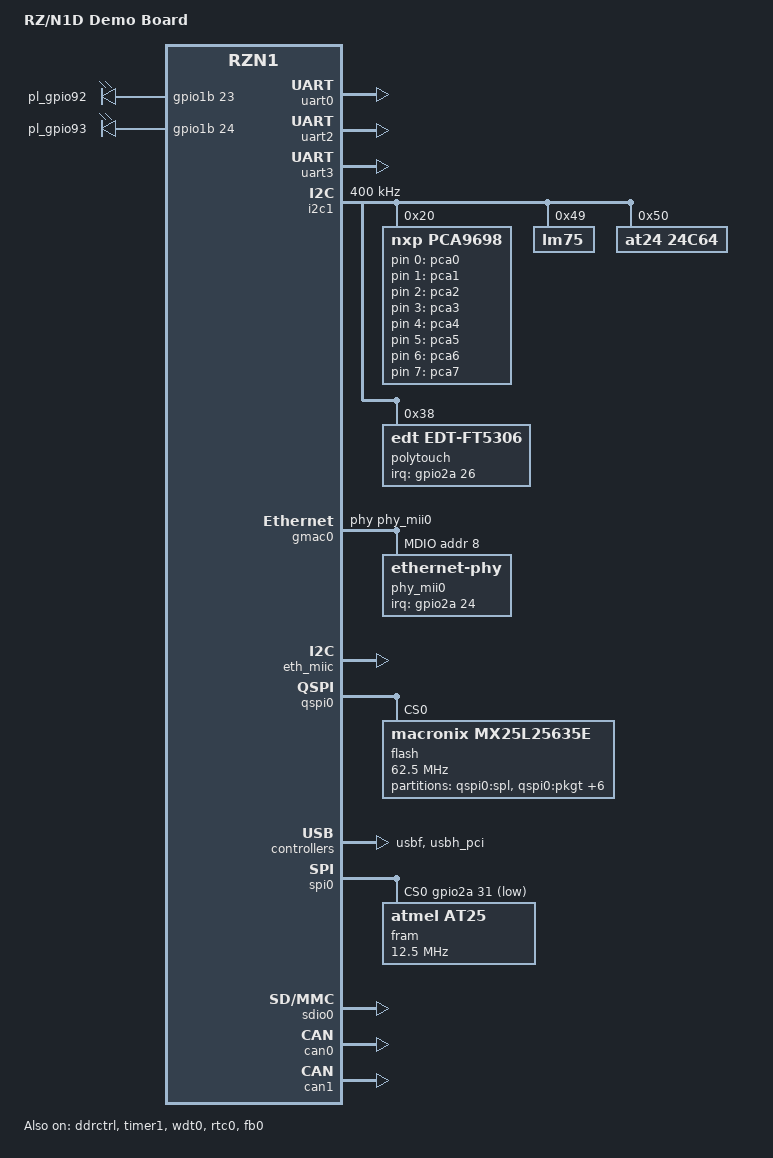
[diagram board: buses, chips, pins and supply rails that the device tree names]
// SPDX-License-Identifier: GPL-2.0
/*
 * Copyright (C) 2016-2019 Renesas Electronics Europe Ltd
 *
 * Device Tree Source for the RZN1D Demo Board
 * This dts is for use when the Cortex M3 controls GMAC1, the 5-Port Switch
 * and the RGMII/GMII Converters for the ports connected to the Switch.
 */

/dts-v1/;

#include "rzn1.dtsi"
#include "rzn1-clocks.dtsi"

/ {
	model = "RZ/N1D Demo Board";
	compatible = "renesas,rzn1d-db", "renesas,rzn1";

	chosen {
		stdout-path = "serial0:115200n8";
	};
	sram@20000000 {
		compatible = "mmio-sram";
		reg = <0x20000000 0x100000>;
		#address-cells = <1>;
		#size-cells = <1>;

		c2c_sram@f8000 {
			compatible = "ctc-sram";
			reg = <0xf8000 0x8000>;
		};
	};
	hoard: cat: nmi: rmii {
		#address-cells = <1>;
		#size-cells = <0>;
	};
	leds: leds {
		compatible = "gpio-leds";

		led_1 {
			label = "pl_gpio92";
			gpios = <&gpio1b 23 GPIO_ACTIVE_HIGH>;
			linux,default-trigger = "cpu0";
		};
		led_2 {
			label = "pl_gpio93";
			gpios = <&gpio1b 24 GPIO_ACTIVE_HIGH>;
			linux,default-trigger = "cpu1";
		};
		pca0 {
			label = "pca0";
			gpios = <&pca9698 0 GPIO_ACTIVE_HIGH>;
		};
		pca1 {
			label = "pca1";
			gpios = <&pca9698 1 GPIO_ACTIVE_HIGH>;
		};
		pca2 {
			label = "pca2";
			gpios = <&pca9698 2 GPIO_ACTIVE_HIGH>;
		};
		pca3 {
			label = "pca3";
			gpios = <&pca9698 3 GPIO_ACTIVE_HIGH>;
		};
		pca4 {
			label = "pca4";
			gpios = <&pca9698 4 GPIO_ACTIVE_HIGH>;
		};
		pca5 {
			label = "pca5";
			gpios = <&pca9698 5 GPIO_ACTIVE_HIGH>;
		};
		pca6 {
			label = "pca6";
			gpios = <&pca9698 6 GPIO_ACTIVE_HIGH>;
		};
		pca7 {
			label = "pca7";
			gpios = <&pca9698 7 GPIO_ACTIVE_HIGH>;
		};
	};
};

/* Map the USB pinmux to the peripheral port */
#define usb usbh_pci
/* ethX refers to the physical pins for each ethernet interface. Here we simply
 * place them in the hoard node to avoid errors if they are not used. Users of
 * the pins will then indicate are needed by adding a pinctrl-0 entry for them.
 */
#define eth0 hoard
#define eth1 hoard
#define eth2 hoard
#define eth3 hoard
#define eth4 hoard
#define refclk hoard
#define mdio0 hoard
#define mdio1 hoard
#define lcd fb0

#include "rzn1d-db-pinmux.dtsi"

&ddrctrl {
	status = "okay";
};

/* Note, timer0 may be used by the Cortex M3 software */
&timer1 {
	status = "okay";
	/* Enable the /25 prescaler only on the 16-bit timers */
	renesas,clk-prescaler = <1 1 1 1 1 1 0 0>;
	renesas,timer-rating = <150 150 150 150 150 150 460 460>;
};

/* Calculated gpio irq numbers: gpioXa Y = 32*X + Y */
#define GPIOA_IRQ(gpioa_block, nr)	(32 * (gpioa_block) + (nr))
&gpioirqmux {
	status = "okay";

	interrupt-map =
		<GPIOA_IRQ(2, 24) &gic GIC_SPI 103 IRQ_TYPE_LEVEL_HIGH>,	/* pin 146: ETH Port 1 IRQ */
		<GPIOA_IRQ(2,  4) &gic GIC_SPI 104 IRQ_TYPE_LEVEL_HIGH>,	/* pin 126: ETH Port 2 IRQ */
		<GPIOA_IRQ(1, 28) &gic GIC_SPI 105 IRQ_TYPE_LEVEL_HIGH>,	/* pin 118: ETH Port 3 IRQ */
		<GPIOA_IRQ(2, 25) &gic GIC_SPI 106 IRQ_TYPE_LEVEL_HIGH>,	/* pin 147: ETH Port 4 IRQ */
		<GPIOA_IRQ(2, 27) &gic GIC_SPI 107 IRQ_TYPE_LEVEL_HIGH>,	/* pin 149: ETH Port 5 IRQ */
		<GPIOA_IRQ(2, 26) &gic GIC_SPI 108 IRQ_TYPE_LEVEL_HIGH>;	/* pin 148: TouchSCRN_IRQ */
};

&uart0 {
	status = "okay";
	u-boot,dm-pre-reloc;
	dont-change-baud-clock;
};

&uart2 {
	pinctrl-0 = <&pins_uart2>;
	pinctrl-names = "default";
	status = "okay";
	dont-change-baud-clock;
};

&uart3 {
	pinctrl-0 = <&pins_uart3>;
	pinctrl-names = "default";
	status = "okay";
	dont-change-baud-clock;
};

&i2c1 {
	pinctrl-0 = <&pins_i2c1>;
	pinctrl-names = "default";
	status = "okay";
	clock-frequency = <400000>;
	pca9698: gpio@20 {
		compatible = "nxp,pca9698";
		reg = <0x20>;
		gpio-controller;
		#gpio-cells = <2>;
		gpio-bank-name="pca";

		/* gpio-hogs to enable access to the EEPROM */
		eeprom_ctrl0 {
			gpio-hog;
			gpios = <16 0>;
			output-high;
			line-name = "eeprom-ctrl0-gpio";
		};
		eeprom_ctrl1 {
			gpio-hog;
			gpios = <17 0>;
			output-low;
			line-name = "eeprom-ctrl1-gpio";
		};
		eeprom_ctrl2 {
			gpio-hog;
			gpios = <18 0>;
			output-low;
			line-name = "eeprom-ctrl2-gpio";
		};
	};
	lm75: lm75@49 {
		/* Ext Board: Temperature sensor */
		compatible = "lm75";
		reg = <0x49>;
	};
	at24@50 {
		compatible = "at24,24c64";
		pagesize = <32>;
		reg = <0x50>;
	};
	polytouch: edt-ft5x06@38 {
		/* Ext Board: touch sensor on LCD */
		compatible = "edt,edt-ft5306", "edt,edt-ft5x06";
		reg = <0x38>;
		interrupt-parent = <&gpio2a>;
		interrupts = <26 IRQ_TYPE_EDGE_FALLING>;
		touchscreen-size-x = <800>;
		touchscreen-size-y = <480>;
		// touchscreen-swapped-x-y;
	};
};

&gpio1 {
	pinctrl-0 = <&pins_gpio1>;
	pinctrl-names = "default";
	status = "okay";
	u-boot,dm-pre-reloc;
};

&gpio1a {
	u-boot,dm-pre-reloc;
};

&gpio1b {
	u-boot,dm-pre-reloc;
};

&gpio2 {
	pinctrl-0 = <&pins_gpio2>;
	pinctrl-names = "default";
	status = "okay";
};

&gmac0 {
	/* Only accessible from the Ext Board */
	status = "okay";
	pinctrl-names = "default";
	pinctrl-0 = <&pins_mdio0>, <&pins_eth0>;

	/*
	 * Do not use GPIO 94 to reset the PHY. This signal is used to reset all
	 * PHYs on the board, but the other PHYs are controlled by firmware on the
	 * Cortex M3 and we do not want to disturb them. We rely on U-Boot to toggle
	 * this reset pin.
	 */

	phy-handle = <&phy_mii0>;

	mdio0 {
		#address-cells = <1>;
		#size-cells = <0>;
		compatible = "snps,dwmac-mdio";
		phy_mii0: ethernet-phy@8 {
			/* Ext Board: Marvell 88E1512 PHY on J22 */
			device_type = "ethernet-phy";
			phy-mode = "rgmii-id";
			reg = <8>;
			/* Set LED0 as active low link status, LED2 as interrupt */
			marvell,reg-init = <3 16 0 0x1010 3 18 0 0x4980>;
			interrupt-parent = <&gpio2a>;
			interrupts = <24 IRQ_TYPE_LEVEL_LOW>;
		};
	};
};

&eth_miic {
	status = "okay";
	pinctrl-names = "default";
	pinctrl-0 = <&pins_refclk_rgmii>;

	/*
	 * This dts is for use Cortex M3 code, e.g. GOAL, that sets the RIN Mode
	 * Control, so do not set it here.
	 */

	mii0: eth-mii0 {
		phy-handle = <&phy_mii0>;
	};
};

&qspi0 {
	pinctrl-0 = <&pins_qspi0>;
	pinctrl-names = "default";
	status = "okay";
	u-boot,dm-pre-reloc;

	flash: mx25l25635@0 {
		#address-cells = <1>;
		#size-cells = <1>;
		compatible = "macronix,mx25l25635e", "spi-flash";
		reg = <0>;
		spi-max-frequency = <62500000>;
		spi-cpha;
		spi-cpol;
		spi-rx-bus-width = <4>;
		renesas,rzn1-read-cmd = <0xeb 6 1>;
		renesas,rzn1-readcap-delay = <1>;
		/* The properties below are used by U-Boot */
		tshsl-ns = <30>;
		tsd2d-ns = <3>;
		tchsh-ns = <3>;
		tslch-ns = <3>;
		memory-map = <RZN1_V_QSPI_BASE RZN1_V_QSPI_SIZE>;
		memory-map-write = <1>;
		u-boot,dm-pre-reloc;

		partition@0 {
			/* 64KB */
			label = "qspi0:spl";
			reg = <0x0000000 0x00010000>;
		};
		partition@1 {
			/* 64KB */
			label = "qspi0:pkgt";
			reg = <0x0010000 0x00010000>;
		};
		partition@2 {
			/* 512KB */
			label = "qspi0:u-boot";
			reg = <0x0020000 0x00080000>;
		};
		partition@3 {
			/* 64KB */
			label = "qspi0:env";
			reg = <0x00a0000 0x00010000>;
		};
		partition@4 {
			/* 128KB */
			label = "qspi0:dtb";
			reg = <0x00b0000 0x00020000>;
		};
		partition@5 {
			/* 1MB */
			label = "qspi0:cm3";
			reg = <0x00d0000 0x00100000>;
		};
		partition@6 {
			/* 6MB */
			label = "qspi0:kernel";
			reg = <0x01d0000 0x00600000>;
		};
		partition@7 {
			/* Remaining */
			label = "qspi0:data";
			reg = <0x07d0000 0>;
		};
	};
};

&usbf {
	status = "okay";
};

&usbh_pci {
	pinctrl-0 = <&pins_usb>;
	pinctrl-names = "default";
	/* Ext Board */
	status = "okay";
};

&wdt0 {
	status = "okay";
};

&dma0 {
	status = "okay";
	/* Select spi0, spi1, spi2, spi3, uart3, uart4, uart5, uart6 */
	rzn1_cfg_dmamux = <0x0000ffff>;
	rzn1_cfg_dmamux_mask = <0x0000ffff>;
};

&spi0 {
	pinctrl-0 = <&pins_spi0>;
	pinctrl-names = "default";
	status = "okay";
	dmas =  <&dma0 8 0 0>,
		<&dma0 9 0 0>;
	dma-names = "rx", "tx";

	cs-gpios = <&gpio2a 31 GPIO_ACTIVE_LOW>;
	num-cs = <1>;

	/* Ext Board: Serial (SPI) F-RAM device (FM25V10-G) */
	fram: fm25@0 {
		compatible = "atmel,at25";
		reg = <0>;
		/* Max freq supported by RZ/N1 */
		spi-max-frequency = <12500000>;
		size = <131072>;
		address-width = <24>;
		pagesize = <4096>;
	};
};

&sdio0 {
	pinctrl-0 = <&pins_sdio0>;
	pinctrl-names = "default";
	/* Ext Board */
	status = "okay";
};

&rtc0 {
	status = "okay";
};

&can0 {
	pinctrl-0 = <&pins_can0>;
	pinctrl-names = "default";
	/* Ext Board */
	status = "okay";
};

&can1 {
	pinctrl-0 = <&pins_can1>;
	pinctrl-names = "default";
	/* Ext Board */
	status = "okay";
};

&fb0 {
	pinctrl-0 = <&pins_lcd>;
	pinctrl-names = "default";
	status = "okay";

	bits-per-pixel = <32>;
	bus-width = <24>;

	/* Ext Board: NewHaven 5" LCD module NHD-5.0-800480TF-ATXL#-CTP  */
	backlight-pwm-clock = <300>;
	display-timings {
		native-mode = <&timing0>;
		timing0: timing0 {
			clock-frequency = <33400000>;
			hactive = <800>;
			vactive = <480>;
			hback-porch = <88>;
			hfront-porch = <40>;
			vback-porch = <32>;
			vfront-porch = <13>;
			hsync-len = <1>;
			vsync-len = <3>;
			hsync-active = <0>;
			vsync-active = <0>;
			de-active = <1>;
		};
	};
};
